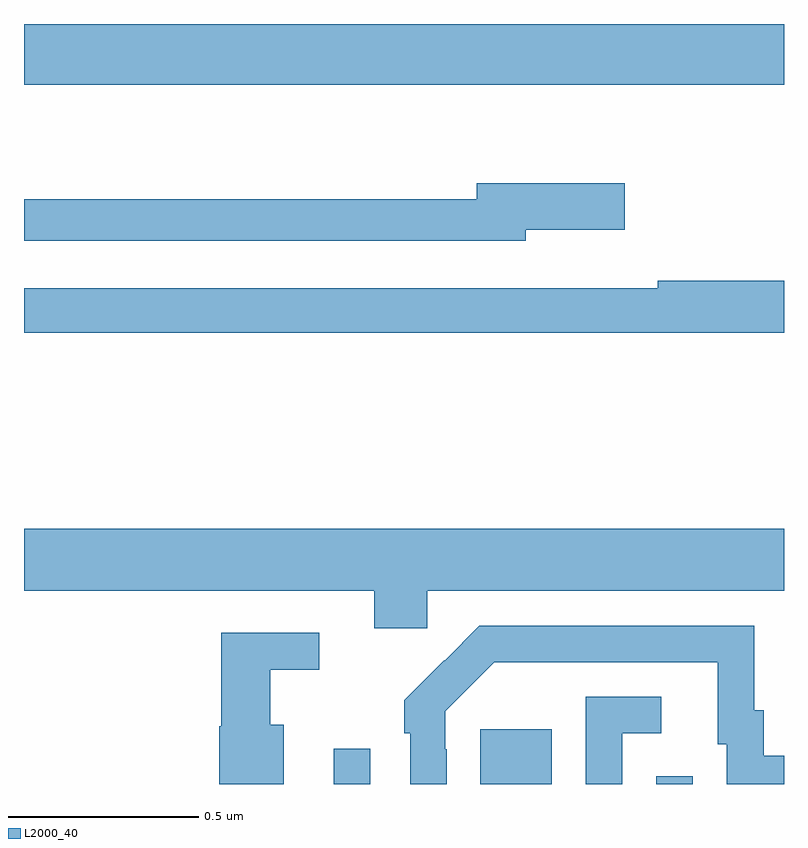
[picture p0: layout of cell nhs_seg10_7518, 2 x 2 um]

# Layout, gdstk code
import gdstk
lib = gdstk.Library(unit=1e-6, precision=1e-09)
def R(c, l, rs):  # rectangles x0, y0, x1, y1
    for r in rs: c.add(gdstk.rectangle(r[:2], r[2:], *l))
def P(c, l, *ps):  # polygons
    for p in ps: c.add(gdstk.Polygon(p, *l))
L2000_40 = (2000, 40)

nhs_seg10_7518 = lib.new_cell('nhs_seg10_7518')
R(nhs_seg10_7518, L2000_40, [(205.815,1274.5,205.911,1274.593), (206.201,1274.5,206.389,1274.644), (206.664,1274.5,206.76,1274.521), (205,1276.34,207,1276.5)])
P(nhs_seg10_7518, L2000_40, [(206.32,1275.959),(206.581,1275.959),(206.581,1276.081),(206.192,1276.081),(206.192,1276.039),(205,1276.039),(205,1275.93),(206.32,1275.93)],
  [(207,1275.824),(206.668,1275.824),(206.668,1275.805),(206.416,1275.805),(206.416,1275.804),(205,1275.804),(205,1275.688),(207,1275.688)],
  [(205,1275.008),(205.922,1275.008),(205.922,1274.91),(206.061,1274.91),(206.061,1275.008),(207,1275.008),(207,1275.172),(205,1275.172)],
  [(206.112,1274.591),(206.109,1274.591),(206.109,1274.691),(206.238,1274.82),(206.825,1274.82),(206.825,1274.604),(206.849,1274.604),(206.849,1274.5),(207,1274.5),(207,1274.575),(206.947,1274.575),(206.947,1274.694),(206.922,1274.694),(206.922,1274.916),(206.198,1274.916),(206.107,1274.825),(206.106,1274.826),(206.001,1274.721),(206.001,1274.633),(206.016,1274.633),(206.016,1274.5),(206.112,1274.5)],
  [(205.684,1274.656),(205.648,1274.656),(205.648,1274.801),(205.777,1274.801),(205.777,1274.898),(205.519,1274.898),(205.519,1274.652),(205.514,1274.652),(205.514,1274.5),(205.684,1274.5)],
  [(206.574,1274.634),(206.677,1274.634),(206.677,1274.73),(206.478,1274.73),(206.478,1274.5),(206.574,1274.5)])

lib.write_gds('nhs_seg10_7518.gds')
